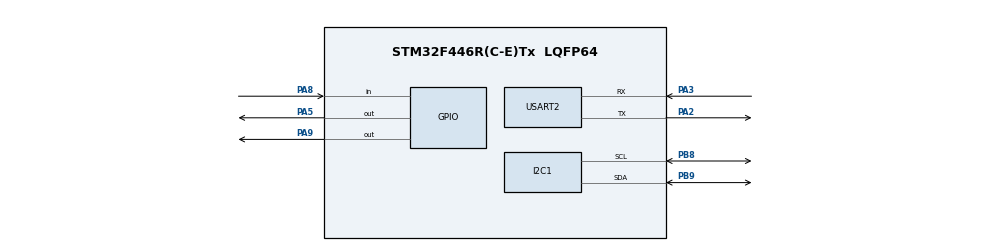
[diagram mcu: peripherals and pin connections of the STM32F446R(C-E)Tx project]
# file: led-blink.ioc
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Mcu.Family=STM32F4
Mcu.Name=STM32F446R(C-E)Tx
Mcu.Package=LQFP64
NVIC.PriorityGroup=NVIC_PRIORITYGROUP_4
PA2.Mode=Asynchronous
PA2.Signal=USART2_TX
PA3.Mode=Asynchronous
PA3.Signal=USART2_RX
PA5.Signal=GPIO_Output
PA8.Signal=GPIO_Input
PA9.Signal=GPIO_Output
PB8.Mode=I2C
PB8.Signal=I2C1_SCL
PB9.Mode=I2C
PB9.Signal=I2C1_SDA
ProjectManager.HeapSize=0x200
ProjectManager.StackSize=0x400
ProjectManager.TargetToolchain=STM32CubeIDE
RCC.CortexFreq_Value=16000000
RCC.USBFreq_Value=96000000
RCC.VCOOutputFreq_Value=192000000
TIM1.Prescaler=15
USART2.VirtualMode=VM_ASYNC
VP_TIM1_VS_ClockSourceINT.Mode=Internal
board=custom

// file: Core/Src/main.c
/* USER CODE BEGIN Header */
/**
  ******************************************************************************
  * @file           : main.c
  * @brief          : Main program body
  ******************************************************************************
  * @attention
  *
  * Copyright (c) 2026 STMicroelectronics.
  * All rights reserved.
  *
  * This software is licensed under terms that can be found in the LICENSE file
  * in the root directory of this software component.
  * If no LICENSE file comes with this software, it is provided AS-IS.
  *
  ******************************************************************************
  */
/* USER CODE END Header */
#include "main.h"

/* USER CODE BEGIN Includes */
#include <stdio.h>
#include "ssd1306.h"
#include "ssd1306_fonts.h"
/* USER CODE END Includes */

I2C_HandleTypeDef hi2c1;

TIM_HandleTypeDef htim1;

UART_HandleTypeDef huart2;

void SystemClock_Config(void);
static void MX_GPIO_Init(void);
static void MX_TIM1_Init(void);
static void MX_USART2_UART_Init(void);
static void MX_I2C1_Init(void);

/* USER CODE BEGIN 0 */
#ifdef __GNUC__
int __io_putchar(int ch)
{
    HAL_UART_Transmit(&huart2, (uint8_t *)&ch, 1, HAL_MAX_DELAY);
    return ch;
}
#endif

void delay_us(uint16_t us)
{
	__HAL_TIM_SET_COUNTER(&htim1, 0);
	while(__HAL_TIM_GET_COUNTER(&htim1) < us);
}
/* USER CODE END 0 */

int main(void)
{

  /* MCU Configuration--------------------------------------------------------*/

  /* Reset of all peripherals, Initializes the Flash interface and the Systick. */
  HAL_Init();

  /* Configure the system clock */
  SystemClock_Config();

  /* Initialize all configured peripherals */
  MX_GPIO_Init();
  MX_TIM1_Init();
  MX_USART2_UART_Init();
  MX_I2C1_Init();
  /* USER CODE BEGIN 2 */
  HAL_TIM_Base_Start(&htim1);
  /* USER CODE END 2 */

  /* Infinite loop */
  /* USER CODE BEGIN WHILE */
  while (1)
  {

	  // Trigger Pulse
	  HAL_GPIO_WritePin(GPIOA, GPIO_PIN_9, GPIO_PIN_RESET);
	  delay_us(2);
	  HAL_GPIO_WritePin(GPIOA, GPIO_PIN_9, GPIO_PIN_SET);
	  delay_us(10);
	  HAL_GPIO_WritePin(GPIOA, GPIO_PIN_9, GPIO_PIN_RESET);

	  // Wait for echo with timeout
	  uint32_t timeout = 0;
	  while(HAL_GPIO_ReadPin(GPIOA, GPIO_PIN_8) == GPIO_PIN_RESET)
	  {
	      timeout++;
	      if(timeout > 30000) break;
	  }

	  // Measure echo duration
	  __HAL_TIM_SET_COUNTER(&htim1, 0);
	  while(HAL_GPIO_ReadPin(GPIOA, GPIO_PIN_8) == GPIO_PIN_SET);
	  uint32_t elapsed = __HAL_TIM_GET_COUNTER(&htim1);

	  // Calculate and print distance
	  float distance = elapsed * 0.034 / 2.0;
	  printf("Distance: %.1f cm\r\n", distance);

	  // Display on OLED
	  ssd1306_Init();
	  ssd1306_Fill(Black);
	  ssd1306_SetCursor(0,0);
	  ssd1306_WriteString("Distance: ", Font_11x18, White);
	  char buffer[32];
	  sprintf(buffer, "%.1f cm", distance);
	  ssd1306_SetCursor(0,15);
	  ssd1306_WriteString(buffer, Font_11x18, White);
	  ssd1306_UpdateScreen();

	  HAL_Delay(100);

    /* USER CODE END WHILE */

  }
}

void SystemClock_Config(void)
{
  RCC_OscInitTypeDef RCC_OscInitStruct = {0};
  RCC_ClkInitTypeDef RCC_ClkInitStruct = {0};

  /** Configure the main internal regulator output voltage
  */
  __HAL_RCC_PWR_CLK_ENABLE();
  __HAL_PWR_VOLTAGESCALING_CONFIG(PWR_REGULATOR_VOLTAGE_SCALE3);

  /** Initializes the RCC Oscillators according to the specified parameters
  * in the RCC_OscInitTypeDef structure.
  */
  RCC_OscInitStruct.OscillatorType = RCC_OSCILLATORTYPE_HSI;
  RCC_OscInitStruct.HSIState = RCC_HSI_ON;
  RCC_OscInitStruct.HSICalibrationValue = RCC_HSICALIBRATION_DEFAULT;
  RCC_OscInitStruct.PLL.PLLState = RCC_PLL_NONE;
  if (HAL_RCC_OscConfig(&RCC_OscInitStruct) != HAL_OK)
  {
    Error_Handler();
  }

  /** Initializes the CPU, AHB and APB buses clocks
  */
  RCC_ClkInitStruct.ClockType = RCC_CLOCKTYPE_HCLK|RCC_CLOCKTYPE_SYSCLK
                              |RCC_CLOCKTYPE_PCLK1|RCC_CLOCKTYPE_PCLK2;
  RCC_ClkInitStruct.SYSCLKSource = RCC_SYSCLKSOURCE_HSI;
  RCC_ClkInitStruct.AHBCLKDivider = RCC_SYSCLK_DIV1;
  RCC_ClkInitStruct.APB1CLKDivider = RCC_HCLK_DIV1;
  RCC_ClkInitStruct.APB2CLKDivider = RCC_HCLK_DIV1;

  if (HAL_RCC_ClockConfig(&RCC_ClkInitStruct, FLASH_LATENCY_0) != HAL_OK)
  {
    Error_Handler();
  }
}

static void MX_I2C1_Init(void)
{

  hi2c1.Instance = I2C1;
  hi2c1.Init.ClockSpeed = 100000;
  hi2c1.Init.DutyCycle = I2C_DUTYCYCLE_2;
  hi2c1.Init.OwnAddress1 = 0;
  hi2c1.Init.AddressingMode = I2C_ADDRESSINGMODE_7BIT;
  hi2c1.Init.DualAddressMode = I2C_DUALADDRESS_DISABLE;
  hi2c1.Init.OwnAddress2 = 0;
  hi2c1.Init.GeneralCallMode = I2C_GENERALCALL_DISABLE;
  hi2c1.Init.NoStretchMode = I2C_NOSTRETCH_DISABLE;
  if (HAL_I2C_Init(&hi2c1) != HAL_OK)
  {
    Error_Handler();
  }

}

static void MX_TIM1_Init(void)
{

  TIM_ClockConfigTypeDef sClockSourceConfig = {0};
  TIM_MasterConfigTypeDef sMasterConfig = {0};

  htim1.Instance = TIM1;
  htim1.Init.Prescaler = 15;
  htim1.Init.CounterMode = TIM_COUNTERMODE_UP;
  htim1.Init.Period = 65535;
  htim1.Init.ClockDivision = TIM_CLOCKDIVISION_DIV1;
  htim1.Init.RepetitionCounter = 0;
  htim1.Init.AutoReloadPreload = TIM_AUTORELOAD_PRELOAD_DISABLE;
  if (HAL_TIM_Base_Init(&htim1) != HAL_OK)
  {
    Error_Handler();
  }
  sClockSourceConfig.ClockSource = TIM_CLOCKSOURCE_INTERNAL;
  if (HAL_TIM_ConfigClockSource(&htim1, &sClockSourceConfig) != HAL_OK)
  {
    Error_Handler();
  }
  sMasterConfig.MasterOutputTrigger = TIM_TRGO_RESET;
  sMasterConfig.MasterSlaveMode = TIM_MASTERSLAVEMODE_DISABLE;
  if (HAL_TIMEx_MasterConfigSynchronization(&htim1, &sMasterConfig) != HAL_OK)
  {
    Error_Handler();
  }

}

static void MX_USART2_UART_Init(void)
{

  huart2.Instance = USART2;
  huart2.Init.BaudRate = 115200;
  huart2.Init.WordLength = UART_WORDLENGTH_8B;
  huart2.Init.StopBits = UART_STOPBITS_1;
  huart2.Init.Parity = UART_PARITY_NONE;
  huart2.Init.Mode = UART_MODE_TX_RX;
  huart2.Init.HwFlowCtl = UART_HWCONTROL_NONE;
  huart2.Init.OverSampling = UART_OVERSAMPLING_16;
  if (HAL_UART_Init(&huart2) != HAL_OK)
  {
    Error_Handler();
  }

}

static void MX_GPIO_Init(void)
{
  GPIO_InitTypeDef GPIO_InitStruct = {0};

  /* GPIO Ports Clock Enable */
  __HAL_RCC_GPIOA_CLK_ENABLE();
  __HAL_RCC_GPIOB_CLK_ENABLE();

  /*Configure GPIO pin Output Level */
  HAL_GPIO_WritePin(GPIOA, GPIO_PIN_5|GPIO_PIN_9, GPIO_PIN_RESET);

  /*Configure GPIO pins : PA5 PA9 */
  GPIO_InitStruct.Pin = GPIO_PIN_5|GPIO_PIN_9;
  GPIO_InitStruct.Mode = GPIO_MODE_OUTPUT_PP;
  GPIO_InitStruct.Pull = GPIO_NOPULL;
  GPIO_InitStruct.Speed = GPIO_SPEED_FREQ_LOW;
  HAL_GPIO_Init(GPIOA, &GPIO_InitStruct);

  /*Configure GPIO pin : PA8 */
  GPIO_InitStruct.Pin = GPIO_PIN_8;
  GPIO_InitStruct.Mode = GPIO_MODE_INPUT;
  GPIO_InitStruct.Pull = GPIO_NOPULL;
  HAL_GPIO_Init(GPIOA, &GPIO_InitStruct);

}

void Error_Handler(void)
{
  __disable_irq();
  while (1)
  {
  }
}
